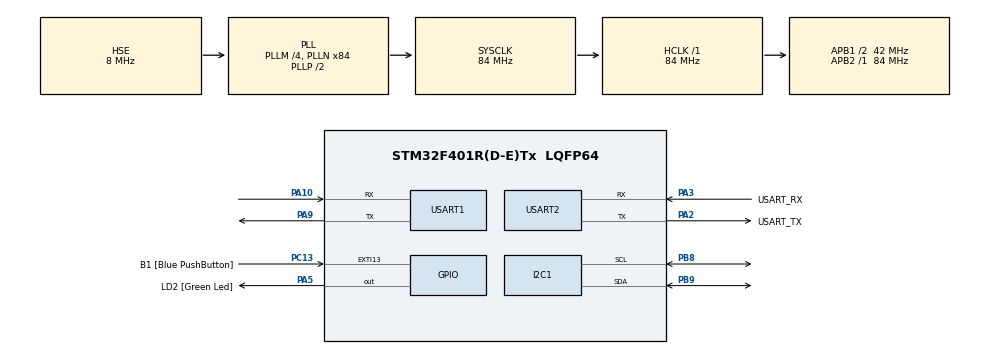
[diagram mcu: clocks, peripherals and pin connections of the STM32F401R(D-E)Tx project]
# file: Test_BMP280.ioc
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Dma.I2C1_RX.0.Direction=DMA_PERIPH_TO_MEMORY
Dma.I2C1_RX.0.FIFOMode=DMA_FIFOMODE_DISABLE
Dma.I2C1_RX.0.Instance=DMA1_Stream0
Dma.I2C1_RX.0.MemDataAlignment=DMA_MDATAALIGN_WORD
Dma.I2C1_RX.0.MemInc=DMA_MINC_ENABLE
Dma.I2C1_RX.0.Mode=DMA_NORMAL
Dma.I2C1_RX.0.PeriphDataAlignment=DMA_PDATAALIGN_WORD
Dma.I2C1_RX.0.PeriphInc=DMA_PINC_DISABLE
Dma.I2C1_RX.0.Priority=DMA_PRIORITY_LOW
Dma.I2C1_TX.1.Direction=DMA_MEMORY_TO_PERIPH
Dma.I2C1_TX.1.FIFOMode=DMA_FIFOMODE_DISABLE
Dma.I2C1_TX.1.Instance=DMA1_Stream6
Dma.I2C1_TX.1.MemDataAlignment=DMA_MDATAALIGN_BYTE
Dma.I2C1_TX.1.MemInc=DMA_MINC_ENABLE
Dma.I2C1_TX.1.Mode=DMA_NORMAL
Dma.I2C1_TX.1.PeriphDataAlignment=DMA_PDATAALIGN_BYTE
Dma.I2C1_TX.1.PeriphInc=DMA_PINC_DISABLE
Dma.I2C1_TX.1.Priority=DMA_PRIORITY_LOW
Dma.Request0=I2C1_RX
Dma.Request1=I2C1_TX
Mcu.Family=STM32F4
Mcu.Name=STM32F401R(D-E)Tx
Mcu.Package=LQFP64
NVIC.DMA1_Stream0_IRQn=true\:0\:0\:false\:false\:true\:false\:true\:true
NVIC.DMA1_Stream6_IRQn=true\:0\:0\:false\:false\:true\:false\:true\:true
NVIC.I2C1_EV_IRQn=true\:0\:0\:false\:false\:true\:true\:true\:true
NVIC.PriorityGroup=NVIC_PRIORITYGROUP_0
NVIC.USART1_IRQn=true\:0\:0\:false\:false\:true\:true\:true\:true
PA10.Mode=Asynchronous
PA10.Signal=USART1_RX
PA13.GPIO_Label=TMS
PA13.Mode=Serial_Wire
PA13.Signal=SYS_JTMS-SWDIO
PA14.GPIO_Label=TCK
PA14.Mode=Serial_Wire
PA14.Signal=SYS_JTCK-SWCLK
PA2.GPIO_Label=USART_TX
PA2.GPIO_Mode=GPIO_MODE_AF_PP
PA2.GPIO_PuPd=GPIO_NOPULL
PA2.GPIO_Speed=GPIO_SPEED_FREQ_LOW
PA2.Mode=Asynchronous
PA2.Signal=USART2_TX
PA3.GPIO_Label=USART_RX
PA3.GPIO_Mode=GPIO_MODE_AF_PP
PA3.GPIO_PuPd=GPIO_NOPULL
PA3.GPIO_Speed=GPIO_SPEED_FREQ_LOW
PA3.Mode=Asynchronous
PA3.Signal=USART2_RX
PA5.GPIO_Label=LD2 [Green Led]
PA5.GPIO_Mode=GPIO_MODE_OUTPUT_PP
PA5.GPIO_PuPd=GPIO_NOPULL
PA5.GPIO_Speed=GPIO_SPEED_FREQ_LOW
PA5.Signal=GPIO_Output
PA9.Mode=Asynchronous
PA9.Signal=USART1_TX
PB3.GPIO_Label=SWO
PB3.Signal=SYS_JTDO-SWO
PB8.Mode=I2C
PB8.Signal=I2C1_SCL
PB9.Mode=I2C
PB9.Signal=I2C1_SDA
PC13-ANTI_TAMP.GPIO_Label=B1 [Blue PushButton]
PC13-ANTI_TAMP.GPIO_ModeDefaultEXTI=GPIO_MODE_IT_FALLING
PC13-ANTI_TAMP.GPIO_PuPd=GPIO_NOPULL
PC13-ANTI_TAMP.Signal=GPXTI13
PC14-OSC32_IN.Mode=LSE-External-Oscillator
PC14-OSC32_IN.Signal=RCC_OSC32_IN
PC15-OSC32_OUT.Mode=LSE-External-Oscillator
PC15-OSC32_OUT.Signal=RCC_OSC32_OUT
PH0\ -\ OSC_IN.Mode=HSE-External-Clock-Source
PH0\ -\ OSC_IN.Signal=RCC_OSC_IN
PH1\ -\ OSC_OUT.Mode=HSE-External-Clock-Source
PH1\ -\ OSC_OUT.Signal=RCC_OSC_OUT
ProjectManager.HeapSize=0x200
ProjectManager.StackSize=0x400
ProjectManager.TargetToolchain=STM32CubeIDE
RCC.48MHZClocksFreq_Value=24000000
RCC.AHBFreq_Value=84000000
RCC.APB1CLKDivider=RCC_HCLK_DIV2
RCC.APB1Freq_Value=42000000
RCC.APB1TimFreq_Value=84000000
RCC.APB2Freq_Value=84000000
RCC.APB2TimFreq_Value=84000000
RCC.CortexFreq_Value=84000000
RCC.HCLKFreq_Value=84000000
RCC.HSE_VALUE=8000000
RCC.HSI_VALUE=16000000
RCC.PLLM=4
RCC.PLLN=84
RCC.PLLQ=7
RCC.PLLSourceVirtual=RCC_PLLSOURCE_HSE
RCC.SYSCLKFreq_VALUE=84000000
RCC.SYSCLKSource=RCC_SYSCLKSOURCE_PLLCLK
RCC.VCOOutputFreq_Value=168000000
USART1.VirtualMode=VM_ASYNC
USART2.VirtualMode=VM_ASYNC
board=NUCLEO-F401RE

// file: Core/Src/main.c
/* USER CODE BEGIN Header */
/**
  ******************************************************************************
  * @file           : main.c
  * @brief          : Main program body
  ******************************************************************************
  * @attention
  *
  * Copyright (c) 2023 STMicroelectronics.
  * All rights reserved.
  *
  * This software is licensed under terms that can be found in the LICENSE file
  * in the root directory of this software component.
  * If no LICENSE file comes with this software, it is provided AS-IS.
  *
  ******************************************************************************
  */
/* USER CODE END Header */
#include "main.h"

/* USER CODE BEGIN Includes */
#include "BME280_STM32.h"
#include "ESPDataLogger.h"
#include "UartRingbuffer.h"
/* USER CODE END Includes */

/* USER CODE BEGIN PD */
#define MY_NETWORK "Fibertel WiFi364 2.4GHz"
#define MY_PASSWORD "00421019428"
/* USER CODE END PD */

I2C_HandleTypeDef hi2c1;
DMA_HandleTypeDef hdma_i2c1_rx;
DMA_HandleTypeDef hdma_i2c1_tx;

UART_HandleTypeDef huart1;
UART_HandleTypeDef huart2;

/* USER CODE BEGIN PV */
extern uint8_t chipID;
extern int32_t tRaw, pRaw, hRaw;
extern uint8_t RawData[8];
float Temperature, Pressure, Humidity;

uint8_t MemRxCallback_Function;

/* USER CODE END PV */

void SystemClock_Config(void);
static void MX_GPIO_Init(void);
static void MX_DMA_Init(void);
static void MX_USART2_UART_Init(void);
static void MX_I2C1_Init(void);
static void MX_USART1_UART_Init(void);
/* USER CODE BEGIN PFP */

void HAL_I2C_MemRxCpltCallback(I2C_HandleTypeDef *hi2c)
{
	if(hi2c == &hi2c1)
	{
		/* Calculate the Raw data for the parameters
		* Here the Pressure and Temperature are in 20 bit format and humidity in 16 bit format
		*/
		pRaw = (RawData[0]<<12)|(RawData[1]<<4)|(RawData[2]>>4);
		tRaw = (RawData[3]<<12)|(RawData[4]<<4)|(RawData[5]>>4);
		hRaw = (RawData[6]<<8)|(RawData[7]);
	}
}

/* USER CODE END PFP */

int main(void)
{
  /* USER CODE BEGIN 1 */
  //float dataToSend[2];
  /* USER CODE END 1 */

  /* MCU Configuration--------------------------------------------------------*/

  /* Reset of all peripherals, Initializes the Flash interface and the Systick. */
  HAL_Init();

  /* Configure the system clock */
  SystemClock_Config();

  /* Initialize all configured peripherals */
  MX_GPIO_Init();
  MX_DMA_Init();
  MX_USART2_UART_Init();
  MX_I2C1_Init();
  MX_USART1_UART_Init();
  /* USER CODE BEGIN 2 */

  BME280_Config(OSRS_1, OSRS_4, OSRS_1, MODE_NORMAL, T_SB_0p5, IIR_16);
  //Usa funciones bloqueantes pero lo utilizo como inicializacion

  //ESP_Init (MY_NETWORK, MY_PASSWORD);

  /* USER CODE END 2 */

  /* Infinite loop */
  /* USER CODE BEGIN WHILE */
  while (1)
  {
	  BME280_Measure();
	  HAL_Delay(500);

	  //dataToSend[0]= Temperature;
	  //dataToSend[1]= Pressure;

	  //ESP_Send_Multi("GZ88XIL7XS30EM51", 2, dataToSend);

	  //HAL_Delay(15000); //15 segs
    /* USER CODE END WHILE */

  }
}

void SystemClock_Config(void)
{
  RCC_OscInitTypeDef RCC_OscInitStruct = {0};
  RCC_ClkInitTypeDef RCC_ClkInitStruct = {0};

  /** Configure the main internal regulator output voltage
  */
  __HAL_RCC_PWR_CLK_ENABLE();
  __HAL_PWR_VOLTAGESCALING_CONFIG(PWR_REGULATOR_VOLTAGE_SCALE2);

  /** Initializes the RCC Oscillators according to the specified parameters
  * in the RCC_OscInitTypeDef structure.
  */
  RCC_OscInitStruct.OscillatorType = RCC_OSCILLATORTYPE_HSE;
  RCC_OscInitStruct.HSEState = RCC_HSE_BYPASS;
  RCC_OscInitStruct.PLL.PLLState = RCC_PLL_ON;
  RCC_OscInitStruct.PLL.PLLSource = RCC_PLLSOURCE_HSE;
  RCC_OscInitStruct.PLL.PLLM = 4;
  RCC_OscInitStruct.PLL.PLLN = 84;
  RCC_OscInitStruct.PLL.PLLP = RCC_PLLP_DIV2;
  RCC_OscInitStruct.PLL.PLLQ = 7;
  if (HAL_RCC_OscConfig(&RCC_OscInitStruct) != HAL_OK)
  {
    Error_Handler();
  }

  /** Initializes the CPU, AHB and APB buses clocks
  */
  RCC_ClkInitStruct.ClockType = RCC_CLOCKTYPE_HCLK|RCC_CLOCKTYPE_SYSCLK
                              |RCC_CLOCKTYPE_PCLK1|RCC_CLOCKTYPE_PCLK2;
  RCC_ClkInitStruct.SYSCLKSource = RCC_SYSCLKSOURCE_PLLCLK;
  RCC_ClkInitStruct.AHBCLKDivider = RCC_SYSCLK_DIV1;
  RCC_ClkInitStruct.APB1CLKDivider = RCC_HCLK_DIV2;
  RCC_ClkInitStruct.APB2CLKDivider = RCC_HCLK_DIV1;

  if (HAL_RCC_ClockConfig(&RCC_ClkInitStruct, FLASH_LATENCY_2) != HAL_OK)
  {
    Error_Handler();
  }
}

static void MX_I2C1_Init(void)
{

  hi2c1.Instance = I2C1;
  hi2c1.Init.ClockSpeed = 100000;
  hi2c1.Init.DutyCycle = I2C_DUTYCYCLE_2;
  hi2c1.Init.OwnAddress1 = 0;
  hi2c1.Init.AddressingMode = I2C_ADDRESSINGMODE_7BIT;
  hi2c1.Init.DualAddressMode = I2C_DUALADDRESS_DISABLE;
  hi2c1.Init.OwnAddress2 = 0;
  hi2c1.Init.GeneralCallMode = I2C_GENERALCALL_DISABLE;
  hi2c1.Init.NoStretchMode = I2C_NOSTRETCH_DISABLE;
  if (HAL_I2C_Init(&hi2c1) != HAL_OK)
  {
    Error_Handler();
  }

}

static void MX_USART1_UART_Init(void)
{

  huart1.Instance = USART1;
  huart1.Init.BaudRate = 115200;
  huart1.Init.WordLength = UART_WORDLENGTH_8B;
  huart1.Init.StopBits = UART_STOPBITS_1;
  huart1.Init.Parity = UART_PARITY_NONE;
  huart1.Init.Mode = UART_MODE_TX_RX;
  huart1.Init.HwFlowCtl = UART_HWCONTROL_NONE;
  huart1.Init.OverSampling = UART_OVERSAMPLING_16;
  if (HAL_UART_Init(&huart1) != HAL_OK)
  {
    Error_Handler();
  }

}

static void MX_USART2_UART_Init(void)
{

  huart2.Instance = USART2;
  huart2.Init.BaudRate = 115200;
  huart2.Init.WordLength = UART_WORDLENGTH_8B;
  huart2.Init.StopBits = UART_STOPBITS_1;
  huart2.Init.Parity = UART_PARITY_NONE;
  huart2.Init.Mode = UART_MODE_TX_RX;
  huart2.Init.HwFlowCtl = UART_HWCONTROL_NONE;
  huart2.Init.OverSampling = UART_OVERSAMPLING_16;
  if (HAL_UART_Init(&huart2) != HAL_OK)
  {
    Error_Handler();
  }

}

static void MX_DMA_Init(void)
{

  /* DMA controller clock enable */
  __HAL_RCC_DMA1_CLK_ENABLE();

  /* DMA interrupt init */
  /* DMA1_Stream0_IRQn interrupt configuration */
  HAL_NVIC_SetPriority(DMA1_Stream0_IRQn, 0, 0);
  HAL_NVIC_EnableIRQ(DMA1_Stream0_IRQn);
  /* DMA1_Stream6_IRQn interrupt configuration */
  HAL_NVIC_SetPriority(DMA1_Stream6_IRQn, 0, 0);
  HAL_NVIC_EnableIRQ(DMA1_Stream6_IRQn);

}

static void MX_GPIO_Init(void)
{
  GPIO_InitTypeDef GPIO_InitStruct = {0};

  /* GPIO Ports Clock Enable */
  __HAL_RCC_GPIOC_CLK_ENABLE();
  __HAL_RCC_GPIOH_CLK_ENABLE();
  __HAL_RCC_GPIOA_CLK_ENABLE();
  __HAL_RCC_GPIOB_CLK_ENABLE();

  /*Configure GPIO pin Output Level */
  HAL_GPIO_WritePin(LD2_GPIO_Port, LD2_Pin, GPIO_PIN_RESET);

  /*Configure GPIO pin : B1_Pin */
  GPIO_InitStruct.Pin = B1_Pin;
  GPIO_InitStruct.Mode = GPIO_MODE_IT_FALLING;
  GPIO_InitStruct.Pull = GPIO_NOPULL;
  HAL_GPIO_Init(B1_GPIO_Port, &GPIO_InitStruct);

  /*Configure GPIO pin : LD2_Pin */
  GPIO_InitStruct.Pin = LD2_Pin;
  GPIO_InitStruct.Mode = GPIO_MODE_OUTPUT_PP;
  GPIO_InitStruct.Pull = GPIO_NOPULL;
  GPIO_InitStruct.Speed = GPIO_SPEED_FREQ_LOW;
  HAL_GPIO_Init(LD2_GPIO_Port, &GPIO_InitStruct);

}

void Error_Handler(void)
{
  __disable_irq();
  while (1)
  {
  }
}
